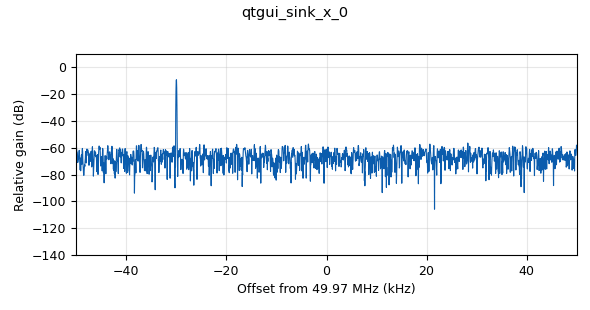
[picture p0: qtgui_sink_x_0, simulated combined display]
options:
  parameters:
    author: amp
    generate_options: qt_gui
    id: gr_meteor
    output_language: python
    title: Meteor Scatter Simulation
  states: {}

blocks:
- name: burst_duration
  id: variable
  parameters:
    value: '3.0'
  states: {}
- name: center_freq
  id: variable
  parameters:
    value: 49.97e6
  states: {}
- name: fade_rate
  id: variable
  parameters:
    value: '0.5'
  states: {}
- name: noiseLevel
  id: variable_qtgui_range
  parameters:
    gui_hint: 0,2,1,6
    label: Noise Level
    start: '0'
    step: '0.05'
    stop: '1'
    value: '0.05'
    widget: slider
  states: {}
- name: overSW
  id: variable_qtgui_toggle_switch
  parameters:
    gui_hint: 0,1,1,1
    initPressed: 'False'
    label: Overderdense
    pressed: '1'
    released: '0'
    type: int
    value: '0'
  states: {state: disabled}
- name: overSW
  id: variable_qtgui_push_button
  parameters:
    gui_hint: 0,1,1,1
    pressed: '1'
    released: '0'
    type: int
    value: '0'
  states: {state: disabled}
- name: samp_rate
  id: variable
  parameters:
    value: 100e3
  states: {}
- name: underSW
  id: variable_qtgui_toggle_switch
  parameters:
    gui_hint: 0,0,1,1
    initPressed: 'False'
    label: Underdense
    pressed: '1'
    released: '0'
    switchOffBackground: white
    type: int
    value: '0'
  states: {state: disabled}
- name: analog_const_source_x_0
  id: analog_const_source_x
  parameters:
    const: '0'
    type: float
  states: {}
- name: analog_const_source_x_1
  id: analog_const_source_x
  parameters:
    const: '0'
    type: float
  states: {state: disabled}
- name: analog_noise_source_x_0
  id: analog_noise_source_x
  parameters:
    amp: noiseLevel
    noise_type: analog.GR_GAUSSIAN
    seed: '0'
    type: complex
  states: {}
- name: analog_noise_source_x_0_0
  id: analog_noise_source_x
  parameters:
    amp: '1'
    noise_type: analog.GR_UNIFORM
    seed: '0'
    type: float
  states: {}
- name: analog_random_uniform_source_x_0
  id: analog_random_uniform_source_x
  parameters:
    maximum: '1'
    minimum: '0'
    seed: '0'
    type: int
  states: {state: disabled}
- name: analog_sig_source_x_0
  id: analog_sig_source_x
  parameters:
    alias: Beacon
    amp: '1'
    comment: Beacon
    freq: center_freq
    offset: '0'
    phase: '0'
    samp_rate: samp_rate
    type: complex
    waveform: analog.GR_SIN_WAVE
  states: {}
- name: blocks_add_xx_0
  id: blocks_add_xx
  parameters:
    num_inputs: '4'
    type: complex
  states: {}
- name: blocks_complex_to_mag_squared_0
  id: blocks_complex_to_mag_squared
  parameters: {}
  states: {state: disabled}
- name: blocks_file_source_0
  id: blocks_file_source
  parameters:
    comment: Underdense echo
    file: /home/suntech/sw/echoSim/underdense_echo_vector.dat
    repeat: 'False'
    type: complex
  states: {}
- name: blocks_float_to_complex_0
  id: blocks_float_to_complex
  parameters: {}
  states: {state: disabled}
- name: blocks_float_to_complex_1
  id: blocks_float_to_complex
  parameters: {}
  states: {}
- name: blocks_int_to_float_0
  id: blocks_int_to_float
  parameters:
    scale: '1'
  states: {state: disabled}
- name: blocks_keep_one_in_n_0
  id: blocks_keep_one_in_n
  parameters:
    n: '100000'
    type: complex
  states: {state: disabled}
- name: blocks_message_strobe_0
  id: blocks_message_strobe
  parameters:
    msg: pmt.intern("TEST")
    period: '1000'
  states: {}
- name: blocks_multiply_xx_0
  id: blocks_multiply_xx
  parameters:
    type: complex
  states: {}
- name: blocks_multiply_xx_0_0
  id: blocks_multiply_xx
  parameters:
    type: complex
  states: {}
- name: blocks_multiply_xx_0_0_0
  id: blocks_multiply_xx
  parameters:
    type: complex
  states: {}
- name: blocks_multiply_xx_0_1
  id: blocks_multiply_xx
  parameters:
    type: complex
  states: {}
- name: blocks_multiply_xx_0_2
  id: blocks_multiply_xx
  parameters:
    type: complex
  states: {}
- name: blocks_nlog10_ff_0
  id: blocks_nlog10_ff
  parameters:
    k: '0'
  states: {state: disabled}
- name: blocks_null_source_0
  id: blocks_null_source
  parameters:
    type: float
  states: {state: disabled}
- name: blocks_null_source_0_0
  id: blocks_null_source
  parameters:
    type: complex
  states: {}
- name: blocks_null_source_0_0_0
  id: blocks_null_source
  parameters:
    type: complex
  states: {}
- name: blocks_tagged_stream_mux_0
  id: blocks_tagged_stream_mux
  parameters:
    ninputs: '2'
    type: complex
  states: {state: disabled}
- name: blocks_threshold_ff_0
  id: blocks_threshold_ff
  parameters:
    high: '0.95'
    init: '0'
    low: '-100'
  states: {state: disabled}
- name: blocks_threshold_ff_1
  id: blocks_threshold_ff
  parameters:
    high: '0.999999'
    init: '0'
    low: '0.999999'
  states: {}
- name: blocks_vector_source_x_0
  id: blocks_vector_source_x
  parameters:
    comment: Underdense Meteor Envelope
    repeat: 'True'
    type: complex
    vector: ([0.0]*100000 + [np.exp(-x/4000.0) for x in range(10000)] + [0.0]*100000)
  states: {}
- name: blocks_vector_source_x_0_0
  id: blocks_vector_source_x
  parameters:
    comment: Overdense Meteor Envelope [Deep Seek]
    repeat: 'True'
    type: complex
    vector: np.concatenate([np.linspace(0,1,int(0.01*samp_rate)), 0.8+0.2*np.sin(2*np.pi*fade_rate*np.linspace(0,burst_duration-0.11,int((burst_duration-0.11)*samp_rate))), np.linspace(0.8,0,int(0.1*samp_rate))])
  states: {}
- name: blocks_vector_source_x_0_0_0
  id: blocks_vector_source_x
  parameters:
    comment: Overdense Meteor Envelope (AMP)
    repeat: 'True'
    type: complex
    vector: ([0.0]*100000 + [1.0]*8000000 + [0.0]*1000000)
  states: {state: disabled}
- name: freq_xlating_fir_filter_xxx_0
  id: freq_xlating_fir_filter_xxx
  parameters:
    alias: doppler_shift
    center_freq: '200'
    comment: Doppler Shift
    decim: '1'
    samp_rate: samp_rate
    taps: '[1]'
    type: ccc
  states: {state: disabled}
- name: freq_xlating_fir_filter_xxx_0_0
  id: freq_xlating_fir_filter_xxx
  parameters:
    alias: doppler_shift2
    center_freq: '400'
    comment: Doppler Shift
    decim: '1'
    samp_rate: samp_rate
    taps: '[1]'
    type: ccc
  states: {state: disabled}
- name: import_0
  id: import
  parameters:
    imports: import numpy as np
  states: {}
- name: qtgui_freq_sink_x_0
  id: qtgui_freq_sink_x
  parameters:
    bw: samp_rate
    fc: center_freq
    fftsize: '1024'
    type: complex
    wintype: window.WIN_HAMMING
  states: {state: disabled}
- name: qtgui_sink_x_0
  id: qtgui_sink_x
  parameters:
    bw: samp_rate
    fc: center_freq
    fftsize: '2048'
    gui_hint: 1,0,5,4
    plotconst: 'False'
    plotfreq: 'False'
    plottime: 'False'
    showrf: 'True'
    type: complex
  states: {}
- name: qtgui_time_sink_x_0
  id: qtgui_time_sink_x
  parameters:
    ctrlpanel: 'True'
    gui_hint: 1,4,5,4
    size: '1024'
    srate: samp_rate
    type: float
    ymax: '3'
    ymin: '-3'
  states: {state: disabled}
- name: qtgui_time_sink_x_0_0
  id: qtgui_time_sink_x
  parameters:
    ctrlpanel: 'True'
    gui_hint: 1,4,5,4
    name: Random Trigger
    size: '1024'
    srate: samp_rate
    type: complex
    ymax: '3'
    ymin: '-3'
  states: {}
- name: qtgui_waterfall_sink_x_0
  id: qtgui_waterfall_sink_x
  parameters:
    bw: samp_rate
    fc: center_freq
    fftsize: '2048'
    legend: 'False'
    type: complex
    update_time: '0.1'
  states: {state: disabled}

connections:
- [analog_const_source_x_0, '0', blocks_float_to_complex_1, '1']
- [analog_const_source_x_1, '0', blocks_float_to_complex_0, '1']
- [analog_noise_source_x_0, '0', blocks_add_xx_0, '0']
- [analog_noise_source_x_0_0, '0', blocks_threshold_ff_1, '0']
- [analog_random_uniform_source_x_0, '0', blocks_int_to_float_0, '0']
- [analog_sig_source_x_0, '0', blocks_add_xx_0, '1']
- [analog_sig_source_x_0, '0', blocks_multiply_xx_0, '0']
- [analog_sig_source_x_0, '0', blocks_multiply_xx_0_1, '0']
- [blocks_add_xx_0, '0', blocks_complex_to_mag_squared_0, '0']
- [blocks_add_xx_0, '0', qtgui_freq_sink_x_0, '0']
- [blocks_add_xx_0, '0', qtgui_sink_x_0, '0']
- [blocks_add_xx_0, '0', qtgui_waterfall_sink_x_0, '0']
- [blocks_complex_to_mag_squared_0, '0', blocks_nlog10_ff_0, '0']
- [blocks_float_to_complex_0, '0', blocks_keep_one_in_n_0, '0']
- [blocks_float_to_complex_1, '0', blocks_multiply_xx_0_2, '0']
- [blocks_float_to_complex_1, '0', qtgui_time_sink_x_0_0, '0']
- [blocks_int_to_float_0, '0', blocks_threshold_ff_0, '0']
- [blocks_keep_one_in_n_0, '0', blocks_tagged_stream_mux_0, '1']
- [blocks_multiply_xx_0, '0', blocks_add_xx_0, '2']
- [blocks_multiply_xx_0, '0', freq_xlating_fir_filter_xxx_0, '0']
- [blocks_multiply_xx_0_0, '0', blocks_multiply_xx_0_2, '1']
- [blocks_multiply_xx_0_0_0, '0', blocks_multiply_xx_0_1, '1']
- [blocks_multiply_xx_0_1, '0', blocks_add_xx_0, '3']
- [blocks_multiply_xx_0_1, '0', freq_xlating_fir_filter_xxx_0_0, '0']
- [blocks_multiply_xx_0_2, '0', blocks_multiply_xx_0, '1']
- [blocks_nlog10_ff_0, '0', qtgui_time_sink_x_0, '0']
- [blocks_null_source_0, '0', blocks_float_to_complex_1, '1']
- [blocks_null_source_0_0, '0', blocks_multiply_xx_0_0, '0']
- [blocks_null_source_0_0_0, '0', blocks_multiply_xx_0_0_0, '0']
- [blocks_tagged_stream_mux_0, '0', blocks_multiply_xx_0_0_0, '1']
- [blocks_threshold_ff_0, '0', blocks_float_to_complex_0, '0']
- [blocks_threshold_ff_1, '0', blocks_float_to_complex_1, '0']
- [blocks_vector_source_x_0, '0', blocks_multiply_xx_0_0, '1']
- [blocks_vector_source_x_0_0, '0', blocks_multiply_xx_0_0_0, '1']
- [freq_xlating_fir_filter_xxx_0, '0', blocks_add_xx_0, '2']
- [freq_xlating_fir_filter_xxx_0_0, '0', blocks_add_xx_0, '3']

metadata:
  file_format: 1
  grc_version: 3.10.7.0
